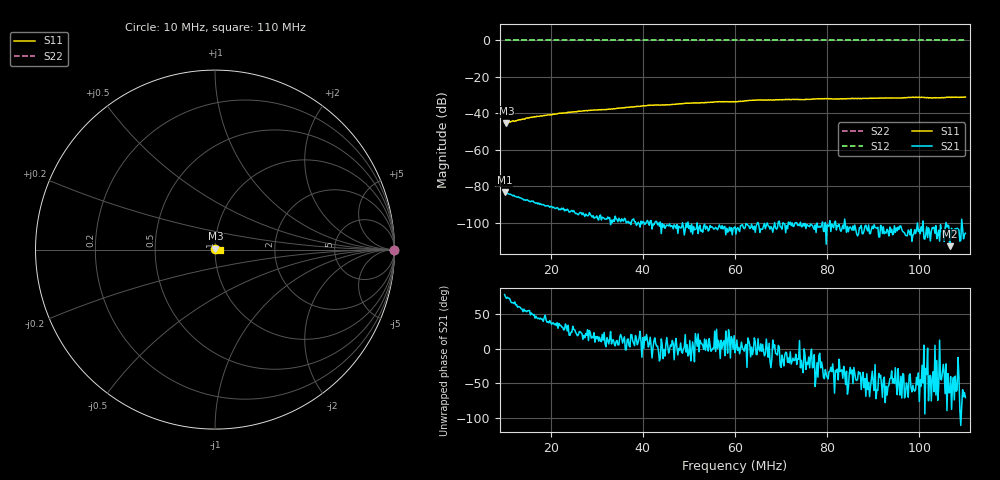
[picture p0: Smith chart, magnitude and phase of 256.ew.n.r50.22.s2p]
! Anritsu VNA Master:  Model: MS2036C/10/77
! SN:  1601066
! /card0/usr/256.ew.n.r50.22.s2p
! Existing Calibration Information:
! TYPE:  Current Settings,  Active Cal Settings
! TIME:  12/19/2017 03:11:41 PM,  12/19/2017 02:53:44 PM
! INTERNAL TEMP:  46.8 C,  46.3 C
! # POINTS:  501,  501
! START FREQ:  10.000 MHz,  10.000 MHz
! STOP FREQ:  110.000 MHz,  110.000 MHz
! SOURCE POWER:  High,  High
! IFBW:  100 Hz,  100 Hz
! AVG FACTOR:  1 ,  1
! REF PLANE 1:  0 mm,  0 mm
! REF PLANE 2:  0 mm,  0 mm
! CAL TYPE:  Full S11,  Full S11
! CAL METHOD:  SOLT,  SOLT
! CAL LINE TYPE:  Coax,  Coax
! DUT PORT 1:  N-Conn(F),  N-Conn(F)
! DUT PORT 2:  K-Conn(F),  K-Conn(F)
! CAL STATUS:  OK: Accuracy High,  --
# GHZ S DB R 50.0
! FREQ.GHZ  S11DB  S11A  S21DB  S21A  S12DB  S12A  S22DB  S22A
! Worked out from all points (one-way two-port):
!   501 points, 10 MHz to 110 MHz, reference 50 ohm
!   highest |S21| = -83.18 dB at 10 MHz (marker M1); lowest = -112.8 dB at 106.6 MHz (marker M2)
!   lowest |S11| = -45.3 dB at 10.4 MHz (marker M3), VSWR 1.01, Z = 50.2 + j0.481 ohm
!   |S11| at or under -10 dB: start of sweep to end of sweep
!   |S22| runs from 0.0 to 0.0 dB; largest |S21 - S12| = 1
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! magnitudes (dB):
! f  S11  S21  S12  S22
! 10 MHz  -45.2  -83.2  0.0  0.0
! 10.4 MHz  -45.3  -83.4  0.0  0.0
! 16.6 MHz  -41.7  -89.0  0.0  0.0
! 22 MHz  -40.0  -92.4  0.0  0.0
! 26.8 MHz  -38.7  -95.5  0.0  0.0
! 32 MHz  -37.9  -97.9  0.0  0.0
! 41.4 MHz  -35.6  -101.3  0.0  0.0
! 43.4 MHz  -35.4  -100.2  0.0  0.0
! 56.4 MHz  -33.6  -102.6  0.0  0.0
! 60 MHz  -33.7  -102.2  0.0  0.0
! 65 MHz  -32.7  -99.8  0.0  0.0
! 71.4 MHz  -32.4  -103.2  0.0  0.0
! 74.8 MHz  -32.5  -100.3  0.0  0.0
! 76.8 MHz  -32.1  -101.4  0.0  0.0
! 78.4 MHz  -32.0  -101.9  0.0  0.0
! 82.2 MHz  -32.1  -101.4  0.0  0.0
! 93.4 MHz  -31.6  -107.2  0.0  0.0
! 96 MHz  -31.5  -101.8  0.0  0.0
! 99 MHz  -31.2  -103.7  0.0  0.0
! 104.2 MHz  -31.4  -104.0  0.0  0.0
! 106.6 MHz  -31.0  -112.8  0.0  0.0
! 110 MHz  -31.0  -105.7  0.0  0.0
